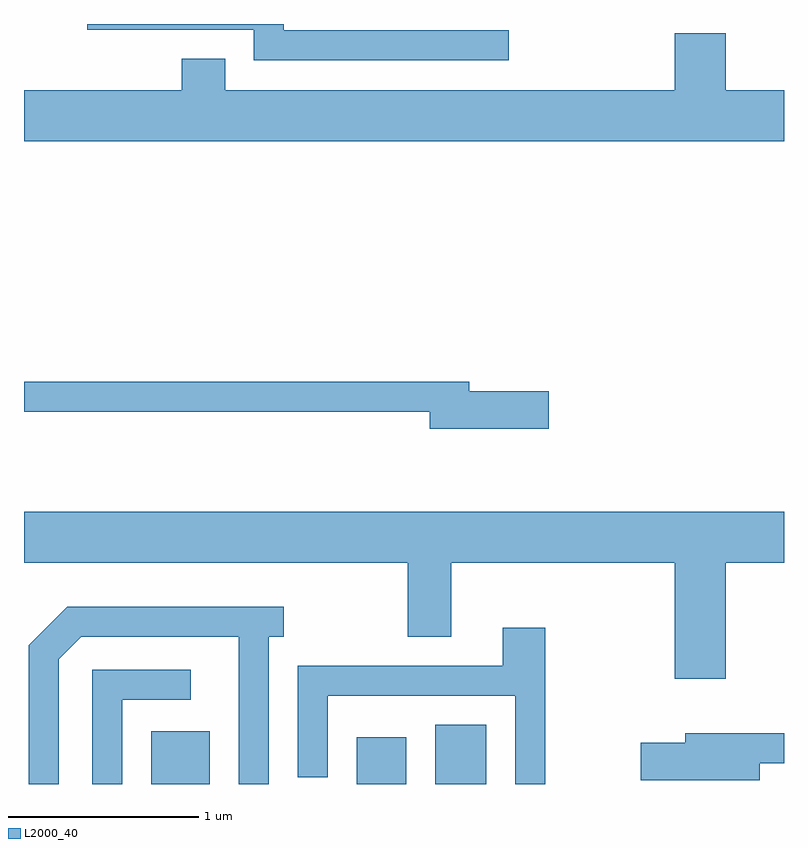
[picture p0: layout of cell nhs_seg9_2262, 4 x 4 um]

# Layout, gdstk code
import gdstk
lib = gdstk.Library(unit=1e-6, precision=1e-09)
def R(c, l, rs):  # rectangles x0, y0, x1, y1
    for r in rs: c.add(gdstk.rectangle(r[:2], r[2:], *l))
def P(c, l, *ps):  # polygons
    for p in ps: c.add(gdstk.Polygon(p, *l))
L2000_40 = (2000, 40)

nhs_seg9_2262 = lib.new_cell('nhs_seg9_2262')
R(nhs_seg9_2262, L2000_40, [(252.281,1988.432,252.589,1988.709), (253.361,1988.432,253.624,1988.679), (253.776,1988.432,254.044,1988.744)])
P(nhs_seg9_2262, L2000_40, [(254.163,1992.399),(252.979,1992.399),(252.979,1992.432),(251.943,1992.432),(251.943,1992.401),(252.821,1992.401),(252.821,1992.241),(254.163,1992.241)],
  [(255.611,1992.084),(255.304,1992.084),(255.304,1992.384),(255.036,1992.384),(255.036,1992.084),(252.669,1992.084),(252.669,1992.249),(252.441,1992.249),(252.441,1992.084),(251.611,1992.084),(251.611,1991.816),(255.611,1991.816)],
  [(254.374,1990.499),(253.954,1990.499),(253.954,1990.549),(251.611,1990.549),(251.611,1990.391),(253.746,1990.391),(253.746,1990.301),(254.374,1990.301)],
  [(255.304,1989.596),(255.611,1989.596),(255.611,1989.864),(251.611,1989.864),(251.611,1989.596),(253.631,1989.596),(253.631,1989.206),(253.859,1989.206),(253.859,1989.596),(255.036,1989.596),(255.036,1988.986),(255.304,1988.986)],
  [(251.794,1989.089),(251.912,1989.206),(252.741,1989.206),(252.741,1988.432),(252.899,1988.432),(252.899,1989.206),(252.978,1989.206),(252.978,1989.364),(251.839,1989.364),(251.636,1989.162),(251.636,1988.432),(251.794,1988.432)],
  [(254.354,1989.254),(254.131,1989.254),(254.131,1989.054),(253.051,1989.054),(253.051,1988.468),(253.209,1988.468),(253.209,1988.896),(254.196,1988.896),(254.196,1988.432),(254.354,1988.432)],
  [(252.129,1988.876),(252.488,1988.876),(252.488,1989.034),(251.971,1989.034),(251.971,1988.432),(252.129,1988.432)],
  [(255.484,1988.541),(255.611,1988.541),(255.611,1988.699),(255.091,1988.699),(255.091,1988.649),(254.856,1988.649),(254.856,1988.451),(255.484,1988.451)])

lib.write_gds('nhs_seg9_2262.gds')
